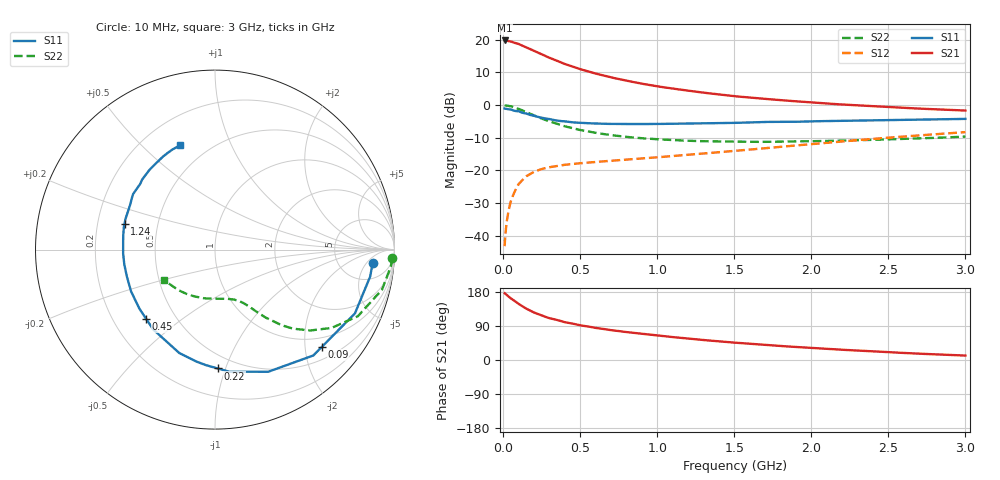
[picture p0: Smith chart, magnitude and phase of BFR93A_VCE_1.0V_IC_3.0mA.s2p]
! Infineon Technologies  Discrete & RF Semiconductors
! BFR93A
! VCE =  1.0 V,  IC =  3.0 mA
! Common Emitter S-Parameters:  Nov 2015
# GHz  S  MA  R  50
!  f  S11  S21  S12  S22
! GHz  MAG  ANG  MAG  ANG  MAG  ANG  MAG  ANG
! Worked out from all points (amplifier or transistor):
!   180 points, 10 MHz to 3 GHz, reference 50 ohm
!   highest |S21| = 19.8 dB at 10 MHz (marker M1)
!   |S21| within 3 dB of that: start of sweep to 192.6 MHz
!   unconditionally stable (mu >= 1): 841.9 MHz to end of sweep
!   at 160 MHz: K = 0.25, MSG = 19.5 dB, |S12| = -21.6 dB
!   at 1.22 GHz: K = 1.17, MAG = 7.3 dB, |S12| = -15.2 dB
!   at 3 GHz: K = 1.04, MAG = 2.1 dB, |S12| = -8.3 dB
!   S11 on the Smith chart (normalised r, x): 10 MHz: 11, -7; 90 MHz: 0.77, -2.36; 220 MHz: 0.40, -0.94; 450 MHz: 0.34, -0.37; 1.24 GHz: 0.32, +0.13; 3 GHz: 0.35, +0.66
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0.01  0.8816 -5.0  9.738 176.3  0.0069 87.8  0.9892 -2.8
0.025  0.87 -12.3  9.645 171.2  0.017 81.6  0.9783 -6.8
0.05  0.8569 -24.5  9.414 162.7  0.0334 76.6  0.957 -13.5
0.09  0.805 -42.4  8.74 151.2  0.0554 66.5  0.8909 -22.5
0.1  0.8051 -47.1  8.632 148.1  0.0611 65.1  0.8782 -25.0
0.15  0.7423 -66.5  7.669 135.4  0.0809 56.0  0.7825 -33.9
0.2  0.6851 -83.3  6.776 125.4  0.0947 49.7  0.6954 -40.4
0.22  0.6626 -88.6  6.435 122.3  0.0986 47.7  0.6649 -42.2
0.26  0.6322 -99.5  5.825 115.8  0.1061 44.3  0.6086 -45.9
0.3  0.6099 -109.0  5.3 110.4  0.1116 41.9  0.5616 -48.6
0.4  0.5623 -127.9  4.254 99.8  0.1215 38.2  0.4727 -53.3
0.45  0.5441 -134.8  3.889 96.1  0.1249 37.3  0.4435 -54.7
0.52  0.5303 -144.4  3.439 90.4  0.1296 36.4  0.4064 -56.8
0.6  0.5223 -153.6  3.035 84.8  0.1343 36.2  0.374 -58.8
0.7  0.5137 -162.5  2.649 78.8  0.14 36.6  0.3459 -61.1
0.84  0.5113 -173.3  2.261 72.0  0.1481 37.8  0.319 -64.5
1.02  0.5135 175.5  1.902 63.8  0.1597 39.5  0.2975 -69.3
1.24  0.5243 164.0  1.613 55.1  0.1761 41.7  0.2817 -76.6
1.52  0.5341 152.5  1.352 45.3  0.2003 44.0  0.2739 -86.9
2.02  0.5641 135.4  1.087 31.4  0.254 45.5  0.2796 -107.0
2.52  0.5887 121.2  0.927 20.3  0.3189 43.1  0.2989 -128.0
3  0.613 108.6  0.823 11.7  0.3846 38.3  0.3289 -149.4
